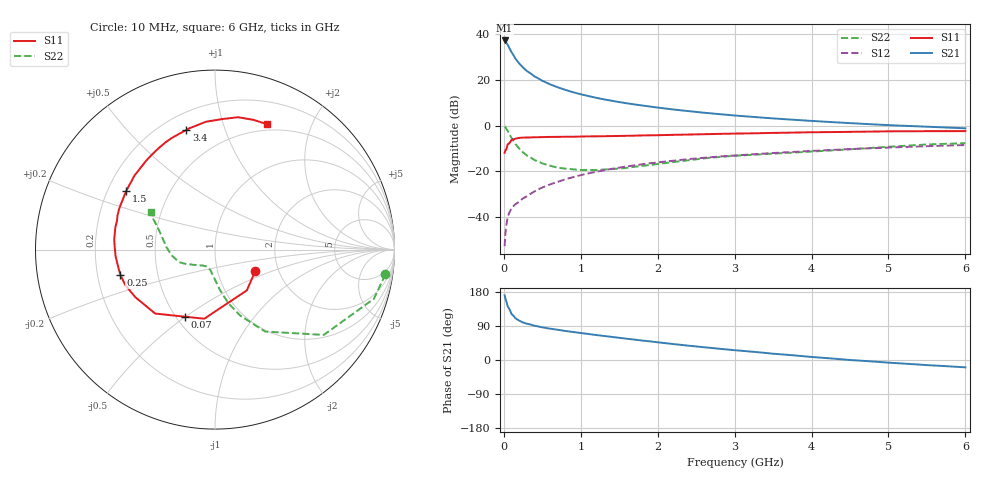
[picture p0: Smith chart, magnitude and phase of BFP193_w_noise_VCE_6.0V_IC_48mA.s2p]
! Infineon Technologies  Discrete & RF Semiconductors
! BFP193
! VCE =  6.0 V,  IC =  48 mA
! Common Emitter S-Parameters:  Jan 2017
# GHz  S  MA  R  50
!  f  S11  S21  S12  S22
! GHz  MAG  ANG  MAG  ANG  MAG  ANG  MAG  ANG
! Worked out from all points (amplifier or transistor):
!   77 points, 10 MHz to 6 GHz, reference 50 ohm
!   highest |S21| = 37.2 dB at 10 MHz (marker M1)
!   |S21| within 3 dB of that: start of sweep to 67.14 MHz
!   unconditionally stable (mu >= 1): 618 MHz to 2.379 GHz
!   at 130 MHz: K = 0.59, MSG = 32.8 dB, |S12| = -35.1 dB
!   at 2.2 GHz: K = 1.01, MAG = 10.6 dB, |S12| = -15.4 dB
!   at 6 GHz: K = 0.92, MSG = 3.7 dB, |S12| = -8.5 dB
!   lowest NFmin = 1.49 dB at 450 MHz
!   S11 on the Smith chart (normalised r, x): 10 MHz: 1.52, -0.39; 70 MHz: 0.55, -0.50; 250 MHz: 0.30, -0.12; 1.5 GHz: 0.28, +0.28; 3.4 GHz: 0.30, +0.74; 6 GHz: 0.43, +1.41
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0.01  0.2541 -28.0  72.71 170.7  0.0023 84.4  0.9593 -8.3
0.02  0.2882 -52.0  70.92 162.5  0.0042 80.8  0.9268 -17.2
0.05  0.3897 -98.8  58.31 141.5  0.01 66.4  0.7701 -38.1
0.07  0.4101 -114.4  50.4 135.1  0.0122 63.4  0.6672 -44.5
0.1  0.4881 -133.1  40.26 121.1  0.0155 60.5  0.536 -58.5
0.15  0.5176 -149.3  29.27 110.4  0.019 59.8  0.3948 -69.0
0.2  0.5372 -158.3  22.78 103.8  0.0218 62.2  0.3127 -75.5
0.25  0.5455 -164.9  18.54 98.9  0.0256 62.4  0.2589 -79.8
0.3  0.5477 -169.4  15.59 95.7  0.0285 64.2  0.221 -83.6
0.4  0.5551 -176.2  11.87 90.3  0.0364 66.3  0.1758 -88.8
0.5  0.5589 178.5  9.538 86.2  0.0441 67.0  0.1491 -93.4
0.6  0.5645 174.2  8.003 82.7  0.0517 68.1  0.1324 -97.9
0.7  0.5657 170.6  6.869 79.8  0.0588 68.1  0.1197 -101.5
0.9  0.5689 163.8  5.355 73.9  0.0743 67.5  0.1104 -108.6
1.1  0.5798 157.5  4.414 68.7  0.0899 66.0  0.1063 -115.8
1.5  0.593 146.3  3.262 58.6  0.1201 61.9  0.1147 -130.1
2.1  0.6203 130.2  2.36 44.5  0.1632 54.9  0.1514 -146.3
3.1  0.6713 108.9  1.613 24.2  0.2273 42.2  0.2228 -165.5
3.4  0.6852 103.5  1.475 18.7  0.2449 38.8  0.2381 -170.9
4.1  0.7163 92.5  1.236 6.5  0.2837 30.5  0.276 175.0
5.1  0.7489 78.8  1.005 -8.2  0.3349 19.0  0.3512 157.6
6  0.7565 67.4  0.871 -19.4  0.3748 9.0  0.4118 149.3
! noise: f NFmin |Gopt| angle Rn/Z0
0.45  1.49  0.42  -171  0.08
0.9  1.54  0.44  -164  0.08
1.9  2.17  0.61  -132  0.22
2.4  2.5  0.64  -119  0.47
